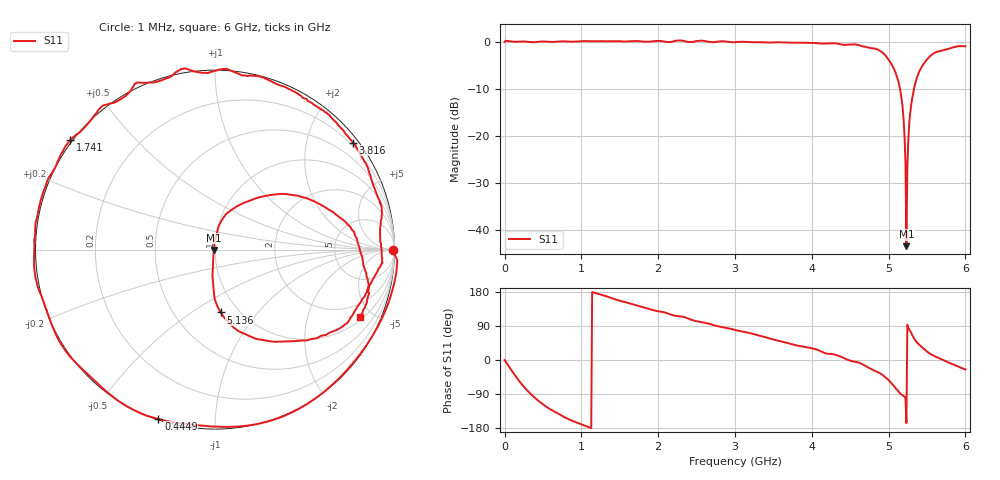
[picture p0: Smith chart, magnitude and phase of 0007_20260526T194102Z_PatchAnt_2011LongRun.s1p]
# Hz S RI R 50
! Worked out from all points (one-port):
!   501 points, 1 MHz to 6 GHz, reference 50 ohm
!   lowest |S11| = -43.5 dB at 5.232 GHz (marker M1), VSWR 1.01, Z = 49.4 - j0.155 ohm
!   |S11| at or under -10 dB: 5.149 GHz to 5.332 GHz (183.4 MHz wide, 3.5 % of centre)
!   S11 on the Smith chart (normalised r, x): 1 MHz: open; 444.9 MHz: 0.00, -0.72; 1.741 GHz: -0.01, +0.33; 3.816 GHz: 0.13, +2.91; 5.136 GHz: 0.83, -0.66; 6 GHz: 1.16, -4.19
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1000000  0.9897 -0.00377
8.4986e7  0.9059 -0.4314
2.16964e8  0.4672 -0.8874
3.0095e8  0.1454 -0.9844
4.44926e8  -0.3149 -0.9442
7.56874e8  -0.8563 -0.5287
1.056824e9  -1.007 -0.1049
1.50075e9  -0.9251 0.4041
1.74071e9  -0.8079 0.6094
2.256624e9  -0.4479 0.9225
3.0005e9  0.1819 0.9663
3.756374e9  0.7382 0.6343
3.816364e9  0.7679 0.5963
4.308282e9  0.9294 0.2256
4.50025e9  0.9285 -0.0241
4.86019e9  0.6963 -0.4376
5.028162e9  0.3044 -0.5109
5.136144e9  0.0313 -0.3501
5.184136e9  -0.0103 -0.1935
5.196134e9  -0.0143 -0.1461
5.208132e9  -0.0112 -0.0955
5.232128e9  -0.00652 -0.00157
5.256124e9  0.00851 0.0864
5.268122e9  0.0206 0.1307
5.292118e9  0.0602 0.1972
5.412098e9  0.3986 0.3093
5.628062e9  0.7745 0.0998
6e9  0.8053 -0.3774
